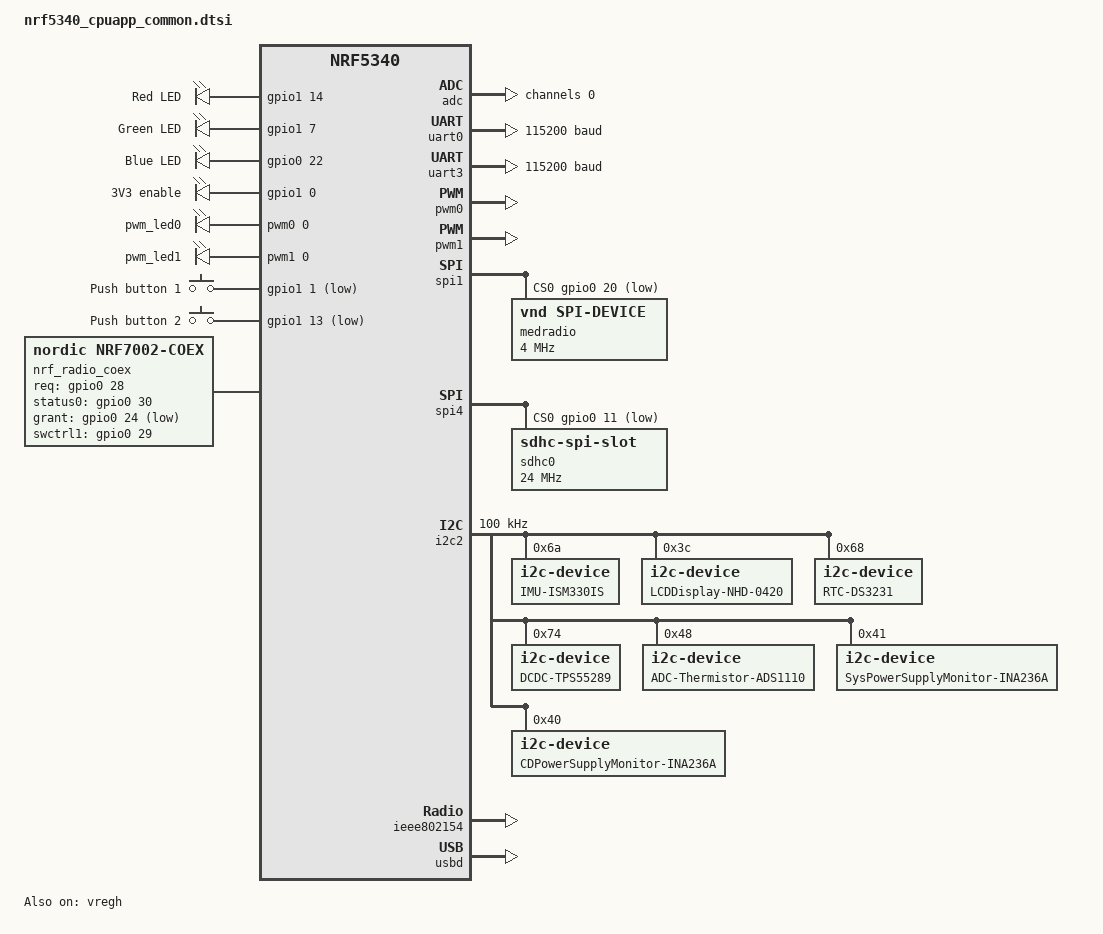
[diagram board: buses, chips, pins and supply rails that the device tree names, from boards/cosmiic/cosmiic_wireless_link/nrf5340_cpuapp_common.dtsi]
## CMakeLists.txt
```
#
# Copyright (c) 2018 Nordic Semiconductor
#
# SPDX-License-Identifier: LicenseRef-Nordic-5-Clause
#
cmake_minimum_required(VERSION 3.20.0)

list(APPEND BOARD_ROOT ${CMAKE_CURRENT_SOURCE_DIR}/boards)
set(PM_STATIC_YML_FILE ${CMAKE_CURRENT_SOURCE_DIR}/pm_static.yml)
#list(APPEND ZEPHYR_EXTRA_MODULE  ${CMAKE_CURRENT_SOURCE_DIR}/drivers)

find_package(Zephyr REQUIRED HINTS $ENV{ZEPHYR_BASE})
project(NONE)


# NORDIC SDK APP START
target_sources(app PRIVATE
  src/main.c
  src/spi.c
  src/cc1101radio.c
  src/cmdhandler.c
  src/audio.c
  src/charger.c
  src/wlgpio.c
  src/imu.c
)

#add_subdirectory(${CMAKE_CURRENT_SOURCE_DIR}/drivers)

# NORDIC SDK APP END

zephyr_library_include_directories(.)
```

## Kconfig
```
#
# Copyright (c) 2018 Nordic Semiconductor
#
# SPDX-License-Identifier: LicenseRef-Nordic-5-Clause
#

source "Kconfig.zephyr"

menu "Nordic UART BLE GATT service sample"

config BT_NUS_THREAD_STACK_SIZE
	int "Thread stack size"
	default 1024
	help
	  Stack size used in each of the two threads

config BT_NUS_UART_BUFFER_SIZE
	int "UART payload buffer element size"
	default 40
	help
	  Size of the payload buffer in each RX and TX FIFO element

config BT_NUS_SECURITY_ENABLED
	bool "Enable security"
	default y
	select BT_SMP
	help
	  "Enable BLE security for the UART service"

config BT_NUS_UART_RX_WAIT_TIME
	int "Timeout for UART RX complete event"
	default 50
	help
	  Wait for RX complete event time in milliseconds

config BT_NUS_UART_ASYNC_ADAPTER
	bool "Enable UART async adapter"
	select SERIAL_SUPPORT_ASYNC
	help
	  Enables asynchronous adapter for UART drives that supports only
	  IRQ interface.

endmenu

rsource "drivers/Kconfig"
```

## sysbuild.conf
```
# Enable MCUboot 
SB_CONFIG_BOOTLOADER_MCUBOOT=y

# Configure bootloader to use only one slot since we are currently only supporting DFU from the bootloader (Serial Recovery).
# To support DFU from application, set to n
SB_CONFIG_MCUBOOT_MODE_SINGLE_APP=y
```

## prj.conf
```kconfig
#
# Copyright (c) 2018 Nordic Semiconductor
#
# SPDX-License-Identifier: LicenseRef-Nordic-5-Clause
#



# Enable the UART driver
CONFIG_UART_ASYNC_API=y

CONFIG_SERIAL=y
CONFIG_UART_INTERRUPT_DRIVEN=y

CONFIG_GPIO=y
CONFIG_SPI=y

# Make sure printk is printing to the UART console
CONFIG_CONSOLE=y
CONFIG_UART_CONSOLE=y

#2048
CONFIG_HEAP_MEM_POOL_SIZE=4096 

CONFIG_MAIN_STACK_SIZE=16384

CONFIG_BT=y
CONFIG_BT_PERIPHERAL=y
CONFIG_BT_DEVICE_NAME="COSMIIC Wireless Link"
#If we want to change the device name at runtime uncomment next line.  
#CONFIG_BT_DEVICE_NAME_DYNAMIC=y 
CONFIG_BT_DEVICE_APPEARANCE=833
CONFIG_BT_MAX_CONN=1
CONFIG_BT_MAX_PAIRED=5

# Enable the NUS service
CONFIG_BT_NUS=y
CONFIG_BT_NUS_SECURITY_ENABLED=y
CONFIG_BT_NUS_AUTHEN=y

# Enable bonding (change all back to y)
CONFIG_BT_SETTINGS=y
CONFIG_FLASH=y
CONFIG_FLASH_PAGE_LAYOUT=y
CONFIG_FLASH_MAP=y
CONFIG_NVS=y
CONFIG_SETTINGS=y
CONFIG_SETTINGS_NVS=y


CONFIG_BT_SMP=y

# Configs for directed advertising
CONFIG_BT_FILTER_ACCEPT_LIST=y
CONFIG_BT_PRIVACY=y

# from BLE FUndamentals Lesson3, Ex2 Defauls: 24 (30ms), 40 (50ms), 0, 42 (420ms)
CONFIG_BT_PERIPHERAL_PREF_MIN_INT=6
CONFIG_BT_PERIPHERAL_PREF_MAX_INT=20
CONFIG_BT_PERIPHERAL_PREF_LATENCY=0
CONFIG_BT_PERIPHERAL_PREF_TIMEOUT=50
CONFIG_BT_GAP_AUTO_UPDATE_CONN_PARAMS=y

#max is 251, 83 is max recommended for fast pair
CONFIG_BT_GATT_CLIENT=y
CONFIG_BT_USER_DATA_LEN_UPDATE=y
CONFIG_BT_BUF_ACL_RX_SIZE=251
CONFIG_BT_BUF_ACL_TX_SIZE=251
CONFIG_BT_L2CAP_TX_MTU=251

# Enable DK LED and Buttons library
CONFIG_DK_LIBRARY=y

# This example requires more workqueue stack
CONFIG_SYSTEM_WORKQUEUE_STACK_SIZE=8192 
#2048

# Config logger
CONFIG_LOG=y

#JML added
#CONFIG_LOG_MODE_IMMEDIATE=n

CONFIG_LOG_BUFFER_SIZE=8192
CONFIG_USE_SEGGER_RTT=y
CONFIG_LOG_BACKEND_RTT=y
CONFIG_LOG_BACKEND_UART=n
CONFIG_LOG_PRINTK=n

CONFIG_LOG_MODE_OVERFLOW=y
CONFIG_LOG_MODE_DEFERRED=y
CONFIG_LOG_PROCESS_THREAD_STACK_SIZE=8192
CONFIG_LOG_PROCESS_THREAD_SLEEP_MS=100

CONFIG_ASSERT=y
#CONFIG_LOG_DEFAULT_LEVEL=4

#CONFIG_SENSOR=y
#CONFIG_ISM330IS=y  


#Fanstel board doesn't include NOR FLASH 
CONFIG_SPI_NOR=n
#Disabled low power
CONFIG_NRF_WIFI_LOW_POWER=n

CONFIG_PWM=y

CONFIG_LOG_SPEED=y

#JML: i don't think this is used because we handle the timeouts manually in app
CONFIG_BT_LIM_ADV_TIMEOUT=60
CONFIG_BT_RX_STACK_SIZE=4096

CONFIG_POWEROFF=y
CONFIG_ADC=y
CONFIG_I2C=y

#CONFIG_NFCT_PINS_AS_GPIOS=y

##CONFIG_BOOTLOADER_MCUBOOT=y  ##now done with sysbuild

#SD CARD
CONFIG_DISK_ACCESS=y
CONFIG_FILE_SYSTEM=y
CONFIG_FAT_FILESYSTEM_ELM=y
CONFIG_DISK_DRIVER_SDMMC=y
CONFIG_FS_FATFS_LFN=y
CONFIG_FS_FATFS_MOUNT_MKFS=y
CONFIG_FS_FATFS_LFN_MODE_HEAP=y

CONFIG_WATCHDOG=y
CONFIG_WDT_DISABLE_AT_BOOT=y



#JML Added for Coil UART
CONFIG_UART_NRFX=y
CONFIG_NRFX_UARTE3=y
CONFIG_UART_3_INTERRUPT_DRIVEN=n
CONFIG_UART_3_ASYNC=y

#JML added for debugging
CONFIG_DEBUG_OPTIMIZATIONS=y
CONFIG_DEBUG_THREAD_INFO=y
```

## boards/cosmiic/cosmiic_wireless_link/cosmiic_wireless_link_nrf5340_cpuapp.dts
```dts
/*
 * Copyright (c) 2024 Nordic Semiconductor ASA
 *
 * SPDX-License-Identifier: Apache-2.0
 */

/dts-v1/;
#include <nordic/nrf5340_cpuapp_qkaa.dtsi>
#include "nrf5340_cpuapp_common.dtsi"
#include "cosmiic_wireless_link_nrf5340_cpuapp_pinctrl.dtsi"

/ {
	model = "COSMIIC WIRELESS LINK NRF5340 Application";
	compatible = "nordic,cosmiicwirelesslink-NRF5340-cpuapp";

	chosen {
		zephyr,sram = &sram0_image;
		zephyr,flash = &flash0;
		zephyr,code-partition = &slot0_partition;
		zephyr,sram-secure-partition = &sram0_s;
		zephyr,sram-non-secure-partition = &sram0_ns;
		zephyr,wifi = &wlan0;
	};

	zephyr,user {
		io-channels = <&adc 0>;
	};
};

&qspi {
	nrf70: nrf7002@1 {
		compatible = "nordic,nrf7002-qspi";
		status = "okay";
		reg = <1>;
		qspi-frequency = <24000000>;
		qspi-quad-mode;

		#include "nrf70_common.dtsi"
		#include "nrf70_common_5g.dtsi"
	};
};
```

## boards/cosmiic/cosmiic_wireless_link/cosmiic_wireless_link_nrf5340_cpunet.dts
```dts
/*
 * Copyright (c) 2024 Nordic Semiconductor ASA
 *
 * SPDX-License-Identifier: Apache-2.0
 */

/dts-v1/;
#include <nordic/nrf5340_cpunet_qkaa.dtsi>
#include "cosmiic_wireless_link_nrf5340_cpunet_pinctrl.dtsi"
#include <zephyr/dt-bindings/input/input-event-codes.h>

/ {
	model = "COSMIIC WIRELESS LINK NRF5340 Network";
	compatible = "nordic,cosmiicwirelesslink-NRF5340-cpunet";

	chosen {
		zephyr,console = &uart0;
		zephyr,shell-uart = &uart0;
		zephyr,uart-mcumgr = &uart0;
		zephyr,bt-mon-uart = &uart0;
		zephyr,bt-c2h-uart = &uart0;
		zephyr,bt-hci-ipc = &ipc0;
		nordic,802154-spinel-ipc = &ipc0;
		zephyr,sram = &sram1;
		zephyr,flash = &flash1;
		zephyr,code-partition = &slot0_partition;
		zephyr,ieee802154 = &ieee802154;
	};

	leds {
		compatible = "gpio-leds";

		led0: led_0 {
				gpios = <&gpio1 6 GPIO_ACTIVE_HIGH>;
				label = "Green LED 0";
		};

		led1: led_1 {
				gpios = <&gpio1 7 GPIO_ACTIVE_HIGH>;
				label = "Green LED 1";
		};
	};

	buttons {
		compatible = "gpio-keys";

		button0: button_0 {
			gpios = <&gpio1 8 (GPIO_PULL_UP | GPIO_ACTIVE_LOW)>;
			label = "Push button 1";
			zephyr,code = <INPUT_KEY_0>;
		};

		button1: button_1 {
			gpios = <&gpio1 9 (GPIO_PULL_UP | GPIO_ACTIVE_LOW)>;
			label = "Push button 2";
			zephyr,code = <INPUT_KEY_1>;
		};
	};

	arduino_header: connector {
		compatible = "arduino-header-r3";
		#gpio-cells = <2>;
		gpio-map-mask = <0xffffffff 0xffffffc0>;
		gpio-map-pass-thru = <0 0x3f>;
		gpio-map = <0 0 &gpio0 4 0>,	/* A0 */
			   <1 0 &gpio0 5 0>,	/* A1 */
			   <2 0 &gpio0 6 0>,	/* A2 */
			   <3 0 &gpio0 7 0>,	/* A3 */
			   <4 0 &gpio0 25 0>,	/* A4 */
			   <5 0 &gpio0 26 0>,	/* A5 */
			   <6 0 &gpio1 0 0>,	/* D0 */
			   <7 0 &gpio1 1 0>,	/* D1 */
			   <8 0 &gpio1 4 0>,	/* D2 */
			   <9 0 &gpio1 5 0>,	/* D3 */
			   <10 0 &gpio1 6 0>,	/* D4 */
			   <11 0 &gpio1 7 0>,	/* D5 */
			   <12 0 &gpio1 8 0>,	/* D6 */
			   <13 0 &gpio1 9 0>,	/* D7 */
			   <14 0 &gpio1 10 0>,	/* D8 */
			   <15 0 &gpio1 11 0>,	/* D9 */
			   <16 0 &gpio1 12 0>,	/* D10 */
			   <17 0 &gpio1 13 0>,	/* D11 */
			   <18 0 &gpio1 14 0>,	/* D12 */
			   <19 0 &gpio1 15 0>,	/* D13 */
			   <20 0 &gpio1 2 0>,	/* D14 */
			   <21 0 &gpio1 3 0>;	/* D15 */
	};

	nrf_radio_coex: coex {
		status = "okay";
		compatible = "nordic,nrf7002-coex";
		req-gpios = <&gpio0 28 GPIO_ACTIVE_HIGH>;
		status0-gpios = <&gpio0 30 GPIO_ACTIVE_HIGH>;
		grant-gpios = <&gpio0 24 (GPIO_PULL_DOWN | GPIO_ACTIVE_LOW)>;
		swctrl1-gpios = <&gpio0 29 GPIO_ACTIVE_HIGH>;
	};

	/* These aliases are provided for compatibility with samples */
	aliases {
		led0 = &led0;
		led1 = &led1;
		sw0 = &button0;
		sw1 = &button1;
		bootloader-led0 = &led0;
		mcuboot-button0 = &button0;
		mcuboot-led0 = &led0;
		watchdog0 = &wdt0;
	};
};

&gpiote {
	status = "okay";
};

&gpio0 {
	status = "okay";
};

&gpio1 {
	status = "okay";
};

&uart0 {
	status = "okay";
	current-speed = <115200>;
	pinctrl-0 = <&uart0_default>;
	pinctrl-1 = <&uart0_sleep>;
	pinctrl-names = "default", "sleep";
};

arduino_serial: &uart0{};

arduino_i2c: &i2c0 {
	compatible = "nordic,nrf-twim";
	/* Cannot be used together with uart0. */
	/* status = "okay"; */
	pinctrl-0 = <&i2c0_default>;
	pinctrl-1 = <&i2c0_sleep>;
	pinctrl-names = "default", "sleep";
};

arduino_spi: &spi0 {
	compatible = "nordic,nrf-spim";
	/* Cannot be used together with uart0. */
	/* status = "okay"; */
	cs-gpios = <&arduino_header 16 GPIO_ACTIVE_LOW>; /* D10 */
	pinctrl-0 = <&spi0_default>;
	pinctrl-1 = <&spi0_sleep>;
	pinctrl-names = "default", "sleep";
};

&flash1 {
	partitions {
		compatible = "fixed-partitions";
		#address-cells = <1>;
		#size-cells = <1>;

		boot_partition: partition@0 {
			label = "mcuboot";
			reg = <0x00000000 0xc000>;
		};

		slot0_partition: partition@c000 {
			label = "image-0";
			reg = <0x0000C000 0x17000>;
		};

		slot1_partition: partition@23000 {
			label = "image-1";
			reg = <0x00023000 0x17000>;
		};

		storage_partition: partition@3a000 {
			label = "storage";
			reg = <0x0003a000 0x6000>;
		};
	};
};

&ieee802154 {
	status = "okay";
};

/* Include default shared RAM configuration file */
#include <nordic/nrf5340_shared_sram_partition.dtsi>
```

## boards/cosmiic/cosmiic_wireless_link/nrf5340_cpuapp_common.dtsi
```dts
/*
 * Copyright (c) 2024 Nordic Semiconductor ASA
 *
 * SPDX-License-Identifier: Apache-2.0
 */
#include "nrf5340_cpuapp_common_pinctrl.dtsi"
#include <zephyr/dt-bindings/input/input-event-codes.h>

/ {
	chosen {
		zephyr,console = &cdc_acm_uart0;
		nordic,nus-uart = &cdc_acm_uart0;
		zephyr,shell-uart = &cdc_acm_uart0;
		zephyr,uart-mcumgr = &uart0;
		zephyr,bt-mon-uart = &uart0;
		zephyr,bt-c2h-uart = &uart0;
		zephyr,bt-hci = &bt_hci_ipc0;
		nordic,802154-spinel-ipc = &ipc0;
		zephyr,ieee802154 = &ieee802154;
	};

	
	//gpios = <&gpio1 4 GPIO_ACTIVE_HIGH>;

	leds {
		compatible = "gpio-leds";

		led0: led_0{
            gpios = <&gpio1 14 (GPIO_ACTIVE_HIGH)>;
            label = "Red LED";
        };

        led1: led_1{
            gpios = <&gpio1 7 (GPIO_ACTIVE_HIGH)>;
            label = "Green LED";
        };

        led2: led_2{
            gpios = <&gpio0 22 (GPIO_ACTIVE_HIGH)>;
            label = "Blue LED";
        };

		en3v3: en3v3{
			gpios = <&gpio1 0 (GPIO_ACTIVE_HIGH)>;
			label = "3V3 enable";
		};
	};

	pwmleds {
		compatible = "pwm-leds";

		pwm_led0: pwm_led_0 {
			pwms = <&pwm0 0 PWM_MSEC(20) PWM_POLARITY_NORMAL>;
			status = "okay";
		};
		
		pwm_led1: pwm_led_1 {
            pwms = <&pwm1 0 PWM_MSEC(20) PWM_POLARITY_NORMAL>;
            status = "okay";
        };
	};

	buttons {
		compatible = "gpio-keys";

		button0: button_0 {
			gpios = <&gpio1 1 (GPIO_PULL_UP | GPIO_ACTIVE_LOW)>;
			label = "Push button 1";
			zephyr,code = <INPUT_KEY_0>;
		};

		button1: button_1 {
			gpios = <&gpio1 13 (GPIO_PULL_UP | GPIO_ACTIVE_LOW)>;
			label = "Push button 2";
			zephyr,code = <INPUT_KEY_1>;
		};
	};

	

	// gpio_fwd: nrf-gpio-forwarder {
	// 	compatible = "nordic,nrf-gpio-forwarder";
	// 	status = "disabled";

	// };

	/* These aliases are provided for compatibility with samples */
	aliases {
		led0 = &led0;
		led1 = &led1;
		led2 = &led2;
		en3v3 = &en3v3;
		pwm-led0 = &pwm_led0;
		pwm-led1 = &pwm_led1;
		sw0 = &button0;
		sw1 = &button1;
		bootloader-led0 = &led0;
		mcuboot-button0 = &button0;
		mcuboot-led0 = &led0;
		watchdog0 = &wdt0;
	};

	nrf_radio_coex: coex {
		status = "okay";
		compatible = "nordic,nrf7002-coex";
		req-gpios = <&gpio0 28 GPIO_ACTIVE_HIGH>;
		status0-gpios = <&gpio0 30 GPIO_ACTIVE_HIGH>;
		grant-gpios = <&gpio0 24 (GPIO_PULL_DOWN | GPIO_ACTIVE_LOW)>;
		swctrl1-gpios = <&gpio0 29 GPIO_ACTIVE_HIGH>;
	};
};

&vregmain {
	regulator-initial-mode = <NRF5X_REG_MODE_DCDC>;
};

&vregradio {
	regulator-initial-mode = <NRF5X_REG_MODE_DCDC>;
};

&vregh {
	status = "okay";
};

&lfxo {
	load-capacitors = "internal";
	load-capacitance-picofarad = <7>;
};


&adc {
	#address-cells = <1>;
	#size-cells = <0>;
	status = "okay";
	channel@0 {
		reg = <0>;
		zephyr,gain = "ADC_GAIN_1_3";
		zephyr,reference = "ADC_REF_INTERNAL";
		zephyr,acquisition-time = <ADC_ACQ_TIME_DEFAULT>;
		zephyr,input-positive = <NRF_SAADC_AIN6>; /*  P0.27 for nRF5340 */
		zephyr,resolution = <12>;
	};
};

&nfct {
	status = "disabled";
};

&gpiote {
	status = "okay";
};

&gpio0 {
	status = "okay";
};

&gpio1 {
	status = "okay";
};

&i2c1 {
	status = "disabled";
};

&uart0 {
	status = "okay";
	current-speed = <115200>;
	pinctrl-0 = <&uart0_default>;
	pinctrl-1 = <&uart0_sleep>;
	pinctrl-names = "default", "sleep";
};

&uart3{
    compatible = "nordic,nrf-uarte";
	status = "okay";
    current-speed = <115200>;
    pinctrl-0 = <&uart3_default>;
	pinctrl-1 = <&uart3_sleep>;
    pinctrl-names = "default", "sleep";
};

&pwm0 {
	status = "okay";
	pinctrl-0 = <&pwm0_default>;
	pinctrl-1 = <&pwm0_sleep>;
	pinctrl-names = "default", "sleep";
};

&pwm1 {
    status = "okay";
    pinctrl-0 = <&pwm1_default>;
    pinctrl-1 = <&pwm1_sleep>;
    pinctrl-names = "default", "sleep";
};

&spi1 {
	status = "okay";
	compatible = "nordic,nrf-spim";
	cs-gpios = <&gpio0 20 GPIO_ACTIVE_LOW>;
	pinctrl-0 = <&spi1_default>;
	pinctrl-1 = <&spi1_sleep>;
	pinctrl-names = "default", "sleep";
	medradio: medradio@0 {
		compatible = "vnd,spi-device";
		reg = <0>;
		spi-max-frequency = <4000000>;
		label = "medradio";
	};
	
};


&spi4 {
    status = "okay";
    compatible = "nordic,nrf-spim";
    cs-gpios = <&gpio0 11 GPIO_ACTIVE_LOW>;
    pinctrl-0 = <&spi4_default>;
	pinctrl-1 = <&spi4_sleep>;
	pinctrl-names = "default", "sleep";

    sdhc0: sdhc@0 {
            compatible = "zephyr,sdhc-spi-slot";
            reg = <0>;
            status = "okay";
            sdmmc {  /*changed mmc to sdmmc */
                compatible = "zephyr,sdmmc-disk";
                status = "okay";
				disk-name = "SD";
            };
            spi-max-frequency = <24000000>;
    };
   
};

&i2c2{
	status = "okay";
	//compatible = "nordic,nrf-twim";
	pinctrl-0 = <&i2c2_default>;
	pinctrl-1 = <&i2c2_sleep>;
	pinctrl-names = "default", "sleep";
    clock-frequency = <100000>;  //NHD-Display only supports 50KHz
    ism330is:ism330is@6A{
        status = "okay";
         compatible = "i2c-device"; //generic, no driver used
        reg=<0x6A>;
        //irq-gpios=<&gpio1 12 GPIO_ACTIVE_HIGH>,<&gpio1 13 GPIO_ACTIVE_HIGH>;
		label = "IMU-ISM330IS";
    };
    //The following are only used for the WL within the charger:
    lcddisplay:lcddisplay@3c{
        status="okay";
        compatible = "i2c-device"; //generic, no driver used
        reg = <0x3c>;
        label = "LCDDisplay-NHD-0420";
    };
    ertc:ertc@68{
        status="okay";
        compatible = "i2c-device"; //generic, no driver used
        reg = <0x68>;
        label = "RTC-DS3231";
    };
    dcdc:dcdc@74{
        status="okay";
        compatible = "i2c-device"; //generic, no driver used
        reg = <0x74>;
        label = "DCDC-TPS55289";
    };
    adctherm:adctherm@48{
        status="okay";
        compatible = "i2c-device"; //generic, no driver used
        reg = <0x48>;
        label = "ADC-Thermistor-ADS1110";
    };
    syspower:syspower@41{
        status="okay";
        compatible = "i2c-device"; //generic, no driver used
        reg = <0x41>;
        label = "SysPowerSupplyMonitor-INA236A";
    };
    cdpower:cdpower@40{
        status="okay";
        compatible = "i2c-device"; //generic, no driver used
        reg = <0x40>;
        label = "CDPowerSupplyMonitor-INA236A";
    };

};

&qspi {
	status = "disabled";
	pinctrl-0 = <&qspi_default>;
	pinctrl-1 = <&qspi_sleep>;
	pinctrl-names = "default", "sleep";
};


&spi0{
    status = "disabled";
};

&spi2{
    status = "disabled";
};

&spi3 {
	status = "disabled";
};

&ieee802154 {
	status = "okay";
};

zephyr_udc0: &usbd {
	cdc_acm_uart0: cdc_acm_uart0 {
 		compatible = "zephyr,cdc-acm-uart";
 	};
	status = "okay";
};

/* use NFC pins as regular GPIO */
&uicr {
	nfct-pins-as-gpios;
};





/* Include default memory partition configuration file */
#include <nordic/nrf5340_cpuapp_partition.dtsi>
```

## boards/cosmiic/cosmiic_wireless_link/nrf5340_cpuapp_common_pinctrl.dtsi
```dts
&pinctrl {
	
	i2c2_default: i2c2_default {
        group1 {
            psels = <NRF_PSEL(TWIM_SDA, 1, 2)>,
                <NRF_PSEL(TWIM_SCL, 1, 3)>;
            bias-pull-up;
        };

    };

	i2c2_sleep: i2c2_sleep {
        group1 {
            psels = <NRF_PSEL(TWIM_SDA, 1, 2)>,
                <NRF_PSEL(TWIM_SCL, 1, 3)>;
			low-power-enable;
        };
    };

	uart0_default: uart0_default {
		group1 {
			psels = <NRF_PSEL(UART_TX, 0, 26)>;
		};

		group2 {
			psels = <NRF_PSEL(UART_RX, 0, 21)>;
			bias-pull-up;
		};
	};

	uart0_sleep: uart0_sleep {
		group1 {
			psels = <NRF_PSEL(UART_TX, 0, 26)>,
				<NRF_PSEL(UART_RX, 0, 21)>;
			low-power-enable;
		};
	};
	
	
	uart3_default: uart3_default {
		group1 {
			psels = <NRF_PSEL(UART_TX, 0, 4)>;
		};
		group2 {
			psels = <NRF_PSEL(UART_RX, 0, 5)>;
			bias-pull-up;
		};
	};

	uart3_sleep: uart3_sleep {
		group1 {
			psels = <NRF_PSEL(UART_TX, 0, 4)>,
				<NRF_PSEL(UART_RX, 0, 5)>;
			low-power-enable;
		};
	};

	pwm0_default: pwm0_default {
		group1 {
			psels = <NRF_PSEL(PWM_OUT0, 0, 7)>;
		};
	};

	pwm0_sleep: pwm0_sleep {
		group1 {
			psels = <NRF_PSEL(PWM_OUT0, 0, 7)>;
			low-power-enable;
		};
	};
	
	pwm1_default: pwm1_default {
		group1 {
			psels = <NRF_PSEL(PWM_OUT0, 1, 5)>;
		};
	};

	pwm1_sleep: pwm1_sleep {
		group1 {
			psels = <NRF_PSEL(PWM_OUT0, 1, 5)>;
			low-power-enable;
		};
	};

	qspi_default: qspi_default {
		group1 {
			psels = <NRF_PSEL(QSPI_SCK, 0, 17)>,
				<NRF_PSEL(QSPI_IO0, 0, 13)>,
				<NRF_PSEL(QSPI_IO1, 0, 14)>,
				<NRF_PSEL(QSPI_IO2, 0, 15)>,
				<NRF_PSEL(QSPI_IO3, 0, 16)>;
			bias-pull-down;
		};

		group2 {
			psels = <NRF_PSEL(QSPI_CSN, 0, 18)>;
			bias-pull-up;
		};
	};

	qspi_sleep: qspi_sleep {
		group1 {
			psels = <NRF_PSEL(QSPI_SCK, 0, 17)>,
				<NRF_PSEL(QSPI_IO0, 0, 13)>,
				<NRF_PSEL(QSPI_IO1, 0, 14)>,
				<NRF_PSEL(QSPI_IO2, 0, 15)>,
				<NRF_PSEL(QSPI_IO3, 0, 16)>;
			bias-pull-down;
			low-power-enable;
		};

		group2 {
			psels = <NRF_PSEL(QSPI_CSN, 0, 18)>;
			bias-pull-up;
			low-power-enable;
		};
	};


	spi1_default: spi1_default {
        group1 {
            psels = <NRF_PSEL(SPIM_SCK, 1, 15)>,
                <NRF_PSEL(SPIM_MISO, 0, 25)>,
                <NRF_PSEL(SPIM_MOSI, 1, 8)>;
        };
    };

	spi1_sleep: spi1_sleep {
        group1 {
            psels = <NRF_PSEL(SPIM_SCK, 1, 15)>,
                <NRF_PSEL(SPIM_MISO, 0, 25)>,
                <NRF_PSEL(SPIM_MOSI, 1, 8)>;
			low-power-enable;
        };
    };
	

	spi4_default: spi4_default {
		group1 {
			psels = <NRF_PSEL(SPIM_SCK, 0, 8)>,
				<NRF_PSEL(SPIM_MISO, 0, 10)>,
				<NRF_PSEL(SPIM_MOSI, 0, 9)>;
				bias-pull-up; //pull up all SDCard SPI lines
		};
		
	};

	spi4_sleep: spi4_sleep {
		group1 {
			psels = <NRF_PSEL(SPIM_SCK, 0, 8)>,
				<NRF_PSEL(SPIM_MISO, 0, 10)>,
				<NRF_PSEL(SPIM_MOSI, 0, 9)>;
			low-power-enable;
		};
	};
};
```

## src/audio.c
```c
#include <zephyr/logging/log.h>
#include <zephyr/drivers/pwm.h>
#include <zephyr/kernel.h> //for k_msleep
#include <zephyr/device.h>
#include <zephyr/devicetree.h>
#include "audio.h"

#define LOG_MODULE_NAME audio
LOG_MODULE_REGISTER(LOG_MODULE_NAME);

#define AUDIO_STACKSIZE 1024 //bytes
#define AUDIO_PRIORITY 9

static const struct pwm_dt_spec pwm_buzz = PWM_DT_SPEC_GET(DT_ALIAS(pwm_led0));  //JML TODO: change alias to something more descriptive
K_MSGQ_DEFINE(audio_msgq, sizeof(struct audioList_type), 3, 4);

////////  AUDIO

//period in us, timeon in ms
uint16_t setBuzzerPeriod(uint16_t period, uint16_t timeon){

	uint32_t period_ns = ((uint32_t)period) *1000;
	int err = pwm_set_dt(&pwm_buzz, period_ns, period_ns >> 1);
	if (err) {
		LOG_WRN("Error %d: failed to set PWM pulse width/period\n", err);
		return 0;
	}
	//LOG_INF("Setting Buzzer Period");
	if (timeon > 0)
	{
		k_msleep(timeon);
		err = pwm_set_dt(&pwm_buzz, 0, 0);
		if (err) {
			LOG_WRN("Error %d: failed to disable PWM\n", err);
			return 0;
		}
	}
	return period;

}

void audio_thread(void)
{
	LOG_INF("Starting audio thread");

	if (!device_is_ready(pwm_buzz.dev)) {
	LOG_WRN("Error: PWM device %s is not ready. No audio supported\n",
			pwm_buzz.dev->name);
			return;
	}

	struct audioList_type audioList; 
	for (;;) {
		/* Wait indefinitely for request coming from BLE or UART or locally */
		k_msgq_get(&audio_msgq, &audioList, K_FOREVER);
        for (uint8_t i = 0; i< audioList.len; i++){
            setBuzzerPeriod(audioList.notePeriod[i], audioList.noteTime[i]); //TODO: handle an error response?
        }
        
	}

}

K_THREAD_DEFINE(audio_thread_id, AUDIO_STACKSIZE, audio_thread, NULL, NULL, NULL, AUDIO_PRIORITY, 0, 0);
```

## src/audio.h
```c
#ifndef _AUDIO_H
#define _AUDIO_H

#include <stdint.h>
#include <stdlib.h>
#include <stdbool.h>
#include <string.h>

#define MAX_AUDIO_NOTES 16 //must be divisible by 4 and should not exceed 60
//JML: does this need the __aligned(4) attribute
struct audioList_type {
   	uint16_t notePeriod[MAX_AUDIO_NOTES]; 
	uint16_t noteTime[MAX_AUDIO_NOTES];
    uint8_t len;
    uint8_t unused1;
    uint8_t unused2;
    uint8_t unused3;
};

extern struct k_msgq audio_msgq;

#endif
```

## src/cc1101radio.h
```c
// Doxygen
/*! 
** @defgroup radio Radio Interface
** @ingroup radiomanagement
*/
/*!
** @file   cc1101.h
** @author Hardway
** @date   12/14/2009
**
** @brief State machine for taking incoming packets from the radio and 
** either reading or writing to the local Object Dictionary or routing 
** to the CAN network. The corresponding replies are returned to the source.
**
** @ingroup radio
*/    
#ifndef _CC1101_RADIO_H
#define _CC1101_RADIO_H

#include <stdint.h>
#include <stdlib.h>
#include <stdbool.h>
#include <string.h>


extern struct k_msgq imp_resp_msgq;
extern struct k_msgq imp_req_msgq;
extern struct k_sem medradio_init_ok;
extern struct k_sem medradio_sent;


//JML: does this need the __aligned(4) attribute
struct medRadio_type {
   	uint8_t buf[64]; //must be divisible by 4
	uint8_t len;
	uint8_t source;
	uint8_t unused2;
	uint8_t unused3;
};






// -------- PROTOTYPES ----------
void initRadioConfig( void );
void sendRadioPacket(const uint8_t *data, uint8_t dataLen );
uint8_t getRadioPacket( uint8_t *data );
uint8_t clearChannelSearch(uint8_t dwell, int8_t* maxRSSI, int8_t* avgRSSI);
void loadRadioSettingsFromFlash(void);
void loadRadioSettingsForPMBoot(void);
uint16_t getTaskTimeoutForMedRadio(void);
void idleMedRadio(void);
void powerDownRadio(void);
uint16_t getMedRadioTimeout( void );
void copyRadioSettings(uint8_t* buf);
bool updateMedRadioLocalAddress(uint8_t val);
bool updateMedRadioRemoteAddress(uint8_t val);
bool updateMedRadioChannel(uint8_t val);
bool updateMedRadioTXPower(uint8_t val);
bool updateMedRadioRXTimeout(uint8_t val);
bool updateMedRadioWORInterval(uint8_t val);
bool updateMedRadioRetries(uint8_t val);
bool updateMedRadioEncryption(uint8_t val);
bool updateMedRadioSessionTime(uint8_t val);
bool updateMedRadioMaintain(uint8_t val);

uint16_t getTimeRemainingInSession(); //in ms

int saved_settings_write(uint16_t id, const void* buf, size_t len);
int saved_settings_read(uint16_t id, const void* buf, size_t len);

void radio_interrupt(void);

void enableEncryption(bool en);
int8_t getLastRSSI(void);

void btea(uint32_t *v, int n, uint32_t const key[4]);




#endif
 
```

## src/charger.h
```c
#ifndef _CHARGER_H
#define _CHARGER_H


#include <stdint.h>
#include <stdlib.h>
#include <stdbool.h>
#include <string.h>

void charger_thread(void);
void coil_reqresp_thread(void);

#define ROUTE_BLE   1
#define ROUTE_UART  2
#define ROUTE_USB   3
#define ROUTE_LOCAL 4


#define ROUTE_BIT_PMBOOT_WRITE   0x80
#define ROUTE_BIT_PMBOOT_READ    0x40
#define ROUTE_BIT_PMSCRIPT_WRITE 0x20
#define ROUTE_BIT_PMSCRIPT_READ  0x10
#define ROUTE_BIT_PMFILE_READ    0x08

#define CHARGER_MODE_NONE	0
#define CHARGER_MODE_CLOCK	1
#define CHARGER_MODE_CHARGE	2
#define CHARGER_MODE_TUNE	3
#define CHARGER_MODE_DETECT	4
#define CHARGER_MODE_POWERDOWN	5
#define CHARGER_MODE_CHARGE_NOFEEDBACK	6
#define CHARGER_MODE_DISPLAY_PASSKEY	7
#define CHARGER_MODE_DISPLAY_ERASEBONDS	8
#define CHARGER_MODE_MAX    8  
#define CHARGER_MODE_DEFAULT CHARGER_MODE_CLOCK

extern struct k_msgq coil_resp_msgq;
extern struct k_msgq coil_req_msgq;

extern struct k_msgq charger_resp_msgq;

struct smartCoil_type {
   	uint8_t buf[64]; //must be divisible by 4
	uint8_t len;
	uint8_t source;
	uint8_t unused2;
	uint8_t unused3;
};


void OutputDisplay(bool clear, char* str1, char* str2, char* str3, char* str4, uint8_t len1, uint8_t len2, uint8_t len3, uint8_t len4);
bool OutputDisplayLine(uint8_t line, char* str, uint8_t len);
void readRTC(uint8_t* rtc);
void writeRTC(uint8_t* rtc);

void startDCDC();
void stopDCDC();
void setDCDC(uint16_t voltage);
void keepCoilOn();
uint32_t setCoilPeriod(uint32_t period);
uint32_t getCoilPeriod(void);
uint16_t getThermistor(void);
uint8_t getCDPower(int16_t* current, uint16_t* voltage);
uint8_t getSysPower(int16_t* current, uint16_t* voltage);


bool logToFile(char * data, uint8_t len);
bool readFromFile(char * data, uint8_t len,  uint32_t off);
void initSD(void);
void dirSD(void);
uint32_t getLogLength(void);
bool flushLog(void);

uint8_t getChargeMode(void);
uint8_t setChargeMode(uint8_t mode);

void tuneCoil(void);
void metalDetect(void);
void charge(void);
void powerDownPM(void);

#define UPDATE_COIL   0
#define TURN_ON_COIL  1
#define TURN_OFF_COIL 2


void testNMT(void);
void testReadSDO(void);
void testWriteSDO(void);
uint8_t ReadSDO(uint8_t node, uint16_t index, uint8_t subindex, uint8_t numSubIndices, uint8_t* resp);
uint8_t WriteSDO(uint8_t node, uint16_t index, uint8_t subindex, uint8_t numSubIndices, uint8_t* writeData, uint8_t sizeBytes);
uint8_t NMT(uint8_t node, uint8_t cmd, uint8_t param1, uint8_t param2);
int8_t transmit(uint8_t node, uint8_t* data, uint8_t len, uint8_t counter, uint8_t protocol, uint8_t* resp);
uint8_t getChargerParams(uint8_t* settings);
void setChargerParams(uint8_t* settings);
uint8_t getAppRadioFromPMBoot(uint8_t* addrAP, uint8_t* addrPM, uint8_t* chan, uint8_t* power);

#endif
```

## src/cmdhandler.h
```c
#ifndef _CMD_HANDLER_H
#define _CMD_HANDLER_H

#include <stdint.h>
#include <stdlib.h>
#include <stdbool.h>
#include <string.h>

#define WL_IN_CHARGER true
#define HW_REV 1 //up to 65535
#define SW_REV 13 //up to 65535

#define PKT_HEADER_LEN 3
#define MIN_PKT_LEN PKT_HEADER_LEN // when checksum added, this will change
#define MAX_PKT_LEN  RX_BUF_SIZE
#define PKT_LEN_UNDEFINED 0 
#define MAX_MEDRADIO_PAYLOAD 60 //+ 64-length byte, address byte, 2 CRC/LQI bytes
#define MIN_MEDRADIO_PAYLOAD 0 //


//JML: does this need the __aligned(4) attribute
struct cmdHandler_type {
   	uint8_t buf[256]; //must be divisible by 4
	uint8_t len;
	uint8_t route;
	uint8_t unused2;
	uint8_t unused3;
};

extern struct k_msgq cmd_resp_msgq;

#define ROUTE_BLE   1
#define ROUTE_UART  2
#define ROUTE_USB   3
#define ROUTE_LOCAL 4
#define ROUTE_CHARGER 5

#define SOURCE_CMDHANDLER 1 //includes programmed button/accel actions + USB/BLE
#define SOURCE_CHARGER	  2
#define SOURCE_SENSOR	  3 //JML TODO:remove this eventually

struct action_type {
   	uint8_t buf[60]; 
	uint8_t len;
	uint8_t source;
};

// struct pmboot_header {
//    	uint32_t addr; 
// 	uint16_t pgsize;
// 	uint8_t sector;
// 	uint8_t unused;
// };

#define BUTTON_1_SHORT 0
#define BUTTON_2_SHORT 1
#define BUTTON_1_LONG  2
#define BUTTON_2_LONG  3
//#define ACCELEROMETER  4
#define MAX_ACTIONS    4
extern struct action_type action[MAX_ACTIONS];

#define RADIO_SETTINGS_ID 1
#define ACTION_SETTINGS_ID 2 
#define COIL_SETTINGS_ID   2 + MAX_ACTIONS


extern struct k_msgq cmd_req_msgq;

#define BIT0 0x01
#define BIT1 0x02
#define BIT2 0x04
#define BIT3 0x08
#define BIT4 0x10
#define BIT5 0x20
#define BIT6 0x40
#define BIT7 0x80

#define BLUE_LED_BLE_ADV         BIT0
#define GREEN_LED_RADIO_RESPONSE BIT1
#define RED_LED_RADIO_ERROR		 BIT2
#define LED_CHARGER				 BIT3
#define LED_MANUAL				 BIT6
#define LED_AUDIO_OFF  		 	 BIT7

#define LED_DEFAULT_MODE_WL		 BIT0|BIT1|BIT2
#define LED_DEFAULT_MODE_CHARGER BIT3  //|BIT7

extern uint8_t modeLED;

#define RESP_INVALID_PARAMETERS 0x0B
#define RESP_MEDRADIO_TIMEOUT   0x0D
#define RESP_COIL_TIMEOUT	    0x0E
#define RESP_SUCCESS            0x06

#define RESP_LOCAL_PMBOOT_WRITE 0x81
#define RESP_LOCAL_PMBOOT_READ  0x82
#define RESP_LOCAL_PMFILE_READ  0x83

#define INDEX_RESP_SYNC        0 
#define INDEX_RESP_TYPE        1 
#define INDEX_RESP_LEN         2    
#define INDEX_RESP_PAYLOAD     3
#define NON_PAYLOAD_RESP_BYTES 3

#define MAX_CMD_RESPONSE_LEN 255
#define MIN_CMD_RESPONSE_LEN NON_PAYLOAD_RESP_BYTES 
#define AWAITING_RESPONSE   1 

#define INDEX_CMD_SYNC        0 
#define INDEX_CMD_COMMAND     1
#define INDEX_CMD_LEN         2
#define INDEX_CMD_PAYLOAD     3
#define NON_PAYLOAD_CMD_BYTES 3

#define BLE_MODE_READY       3
#define BLE_MODE_OPEN_ADVERT 2
#define BLE_MODE_ADVERT      1
#define BLE_MODE_NONE        0

#define SYNC_BYTE  0xFF

#define MSG_DEPTH 1

void command_handler(uint8_t *packet, uint8_t len, uint8_t route);
void uart_send(uint8_t* packet, uint8_t len);
void ble_send(uint8_t* packet, uint8_t len);

void setLowPower(void);

uint16_t setBuzzerPeriod(uint16_t period, uint16_t timeon);
void ble_start_advertising(void);
void ble_stop_advertising(void);
void power_down_sensor(void);
int16_t get_adc_sample(void);

uint8_t pmboot_write_supervisor(uint8_t *pmboot, uint8_t * resp, uint8_t resp_len, uint8_t * req, uint8_t * req_len);
uint8_t pmboot_read_supervisor(uint8_t *pmboot, uint8_t * resp, uint8_t resp_len, uint8_t * req, uint8_t * req_len);
uint8_t pmfile_read_supervisor(uint8_t *pmboot, uint8_t * resp, uint8_t resp_len, uint8_t * req, uint8_t * req_len);

void resetWL(void);
void setLEDs( uint8_t red, uint8_t green, uint8_t blue);

//void enable_sensor(uint8_t enable);

uint8_t erasebonds(void);
void ble_start_advertising_pairing_mode(void);
uint32_t getpasskey(void);
uint8_t get_bonded_devices(uint8_t *buf);

uint8_t getBLEMode(void);
#endif
```

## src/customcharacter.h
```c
#ifndef _CUSTOMCHARACTER_H
#define _CUSTOMCHARACTER_H


#include <stdint.h>
#include <stdlib.h>
#include <stdbool.h>
#include <string.h>

#define CUSTOMCHAR_RADIO0   {   0b00000,\
                                0b00000,\
                                0b00000,\
                                0b00000,\
                                0b00000,\
                                0b00000,\
                                0b00000,\
                                0b00000  }

#define CUSTOMCHAR_RADIO1   {   0b00000,\
                                0b00000,\
                                0b00000,\
                                0b00000,\
                                0b10000,\
                                0b10000,\
                                0b10000,\
                                0b10000 }

#define CUSTOMCHAR_RADIO2   {   0b00000,\
                                0b00000,\
                                0b00100,\
                                0b00100,\
                                0b10100,\
                                0b10100,\
                                0b10100,\
                                0b10100  }

#define CUSTOMCHAR_RADIO3   {   0b00001,\
                                0b00001,\
                                0b00101,\
                                0b00101,\
                                0b10101,\
                                0b10101,\
                                0b10101,\
                                0b10101 }      
                        
#define CUSTOMCHAR_PERSON   {   0b11000,\
                                0b11000,\
                                0b10000,\
                                0b11100,\
                                0b10000,\
                                0b11110,\
                                0b00010,\
                                0b00011 }    

#define CUSTOMCHAR_COIL  {      0b00000,\
                                0b00000,\
                                0b01110,\
                                0b10001,\
                                0b10101,\
                                0b10001,\
                                0b01110,\
                                0b00000 }   

#define CUSTOMCHAR_LIGHTNING {   0b00010,\
                                0b00110,\
                                0b01100,\
                                0b11100,\
                                0b00111,\
                                0b00110,\
                                0b01100,\
                                0b01000 }    
                                
#define CUSTOMCHAR_DEGREEC  {   0b10000,\
                                0b00110,\
                                0b01001,\
                                0b01000,\
                                0b01000,\
                                0b01001,\
                                0b00110,\
                                0b00000 }    
                                
#define CUSTOMCHAR_BATTERY0 {   0b01110,\
                                0b11011,\
                                0b10001,\
                                0b10001,\
                                0b10001,\
                                0b10001,\
                                0b10001,\
                                0b11111 } 

#define CUSTOMCHAR_BATTERY1 {   0b01110,\
                                0b11011,\
                                0b10001,\
                                0b10001,\
                                0b10001,\
                                0b10001,\
                                0b11111,\
                                0b11111 } 

#define CUSTOMCHAR_BATTERY2 {   0b01110,\
                                0b11011,\
                                0b10001,\
                                0b10001,\
                                0b10001,\
                                0b11111,\
                                0b11111,\
                                0b11111 } 

#define CUSTOMCHAR_BATTERY3 {   0b01110,\
                                0b11011,\
                                0b10001,\
                                0b10001,\
                                0b11111,\
                                0b11111,\
                                0b11111,\
                                0b11111 } 
    
#define CUSTOMCHAR_BATTERY4 {   0b01110,\
                                0b11011,\
                                0b10001,\
                                0b11111,\
                                0b11111,\
                                0b11111,\
                                0b11111,\
                                0b11111 } 

#define CUSTOMCHAR_BATTERY5 {   0b01110,\
                                0b11011,\
                                0b11111,\
                                0b11111,\
                                0b11111,\
                                0b11111,\
                                0b11111,\
                                0b11111 }      

#define CUSTOMCHAR_BATTERY6 {   0b01110,\
                                0b11111,\
                                0b11111,\
                                0b11111,\
                                0b11111,\
                                0b11111,\
                                0b11111,\
                                0b11111 }                                   


#define CUSTOMCHAR_BIGSTAR  {   0b00000,\
                                0b00000,\
                                0b00100,\
                                0b00100,\
                                0b01110,\
                                0b11111,\
                                0b01110,\
                                0b00100 } 

 #define CUSTOMCHAR_LILSTAR  {  0b00000,\
                                0b01000,\
                                0b01000,\
                                0b11100,\
                                0b01000,\
                                0b01000,\
                                0b00000,\
                                0b00000 }   

#define CUSTOMCHAR_DOUBLEI {    0b01010,\
                                0b01010,\
                                0b01010,\
                                0b01010,\
                                0b01010,\
                                0b01010,\
                                0b01010,\
                                0b00000 }    

#define CUSTOMCHAR_TUNER    {   0b01010,\
                                0b01010,\
                                0b01010,\
                                0b01010,\
                                0b01110,\
                                0b00100,\
                                0b00100,\
                                0b00100 } 
    
#define CUSTOMCHAR_POWER     {  0b00000,\
                                0b00100,\
                                0b10101,\
                                0b10101,\
                                0b10001,\
                                0b10001,\
                                0b01110,\
                                0b00000 }   

#define CUSTOMCHAR_BT        {  0b00100,\
                                0b10110,\
                                0b01101,\
                                0b00110,\
                                0b01101,\
                                0b10110,\
                                0b00100,\
                                0b00000 }         

 #define CUSTOMCHAR_BTPAIR    { 0b00100,\
                                0b10110,\
                                0b01101,\
                                0b10110,\
                                0b01101,\
                                0b10110,\
                                0b00100,\
                                0b00000 }     
                                 
#endif
```

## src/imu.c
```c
#include "imu.h"
#include <zephyr/logging/log.h>
#include <dk_buttons_and_leds.h>
#include <zephyr/kernel.h> //for k_msleep
#include <zephyr/device.h>
#include <zephyr/devicetree.h>
#include <zephyr/drivers/uart.h>
#include <zephyr/drivers/i2c.h>

#define LOG_MODULE_NAME imu
LOG_MODULE_REGISTER(LOG_MODULE_NAME);

static const struct i2c_dt_spec dev_i2c_imu = I2C_DT_SPEC_GET(DT_NODELABEL(ism330is));


void initIMU(void)
{
    if (!device_is_ready(dev_i2c_imu.bus)) {
		LOG_INF("I2C bus %s is not ready!\n\r",dev_i2c_imu.bus->name);
		return;
	}

    uint8_t write_buf[2];
    uint8_t read_buf[1];

	
	LOG_INF("Get Thermistor");


    write_buf[0]=WHO_AM_I;
	int ret = i2c_write_read_dt(&dev_i2c_imu, write_buf, 1,read_buf, sizeof(read_buf));
    if(ret != 0){
		LOG_INF("Failed to write to I2C device address %x at reg \n\r", dev_i2c_imu.addr);
		return 0;
	}
    LOG_INF("WHO AM I response %02X", read_buf[0]);

    write_buf[0]=CTRL6_C;
    write_buf[1]=0x10; //low power mode Acc
    ret = i2c_write_dt(&dev_i2c_imu, write_buf, sizeof(write_buf));

    write_buf[0]=CTRL7_G;
    write_buf[1]=0x80; //low power mode Gyro
	ret = i2c_write_dt(&dev_i2c_imu, write_buf, sizeof(write_buf));
	
    write_buf[0]=CTRL1_XL;
    write_buf[1]=0x20; //26Hz, 2g, Acc
	ret = i2c_write_dt(&dev_i2c_imu, write_buf, sizeof(write_buf));

    write_buf[0]=CTRL2_G;
    write_buf[1]=0x20; //26Hz, +/-250dps, Gyro
	ret = i2c_write_dt(&dev_i2c_imu, write_buf, sizeof(write_buf));

    LOG_INF("IMU initialized for Accel and Gyro 26Hz, 2g, 250dps");
}

void getAccel(uint8_t *bytes)
{
    uint8_t write_buf[1];
    uint8_t read_buf[6];

    write_buf[0]=OUTX_L_A;

    int ret = i2c_write_read_dt(&dev_i2c_imu, write_buf, sizeof(write_buf),read_buf, sizeof(read_buf));
    if(ret != 0){
		LOG_INF("Failed to write to I2C device address %x at reg \n\r", dev_i2c_imu.addr);
		return 0;
	}
    memcpy(bytes, read_buf, sizeof(read_buf));
}

void getGyro(uint8_t *bytes)
{
    uint8_t write_buf[1];
    uint8_t read_buf[6];

    write_buf[0]=OUTX_L_G;

    int ret = i2c_write_read_dt(&dev_i2c_imu, write_buf, sizeof(write_buf),read_buf, sizeof(read_buf));
    if(ret != 0){
		LOG_INF("Failed to write to I2C device address %x at reg \n\r", dev_i2c_imu.addr);
		return 0;
	}
    memcpy(bytes, read_buf, sizeof(read_buf));
}
```

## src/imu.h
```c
#ifndef _IMU_H
#define _IMU_H


#include <stdint.h>
#include <stdlib.h>
#include <stdbool.h>
#include <string.h>


#define FUNC_CFG_ACCESS 0x01
#define PIN_CTRL		0x02
#define DRDY_PULSED_REG 0x0B
#define INT1_CTRL		0x0D
#define INT2_CTRL		0x0E
#define WHO_AM_I		0x0F
#define CTRL1_XL		0x10
#define CTRL2_G			0x11
#define CTRL3_C			0x12
#define CTRL4_C			0x13
#define CTRL5_C			0x14
#define CTRL6_C			0x15
#define CTRL7_G			0x16
#define CTRL9_C			0x18
#define CTRL10_C		0x19
#define STATUS_REG		0x1E
#define	MD1_CFG			0x5E

#define ISPU_CONFIG		0x02
#define ISPU_STATUS		0x04
#define ISPU_MEM_SEL    0x08
#define ISPU_MEM_ADDR1  0x09
#define ISPU_MEM_ADDR0  0x0A
#define ISPU_MEM_DATA   0x0B
#define ISPU_DOUT_00_L  0x10

#define ISPU_INT1_CTRL0 0x50
#define ISPU_INT2_CTRL0 0x54
#define ISPU_ALGO0 		0x70

#define OUT_TEMP_L        	0x20
#define OUTX_L_G        	0x22
#define OUTX_L_A		0x28
#define WHO_AM_I		0x0F

void initIMU(void);
void getAccel(uint8_t *bytes);
void getGyro(uint8_t *bytes);
#endif
```

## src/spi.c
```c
//#include "spi.h"
#include <zephyr/drivers/spi.h>
#include <zephyr/logging/log.h>

#define LOG_MODULE_NAME spi
LOG_MODULE_REGISTER(LOG_MODULE_NAME);



/** @brief Transmit buffer initialized with the specified message ( @ref MSG_TO_SEND ). */
static uint8_t m_tx_buffer[64] = {0};

/** @brief Receive buffer defined with the size to store specified message ( @ref MSG_TO_SEND ). */
static uint8_t m_rx_buffer[64] = {0};


static struct spi_buf spi_tx_buf ={.buf = m_tx_buffer, .len = sizeof(m_tx_buffer)} ;
static const struct spi_buf_set spi_tx_bufs = {.buffers = &spi_tx_buf, .count = 1};
static struct spi_buf spi_rx_buf ={.buf = m_rx_buffer, .len = sizeof(m_rx_buffer)} ;
static const struct spi_buf_set spi_rx_bufs = {.buffers = &spi_rx_buf, .count = 1};



#define SPI_OP  SPI_OP_MODE_MASTER  | SPI_WORD_SET(8) | SPI_LINES_SINGLE

static const struct spi_dt_spec spi = SPI_DT_SPEC_GET(DT_NODELABEL(medradio), SPI_OP, 0);
   


void spi_init(void)
{

   if (!spi_is_ready_dt(&spi)) {
        LOG_ERR("Device medradio SPI not ready, aborting test");
        return;
    }

}




 void spi_transmit(uint8_t* tx_buf, uint8_t* rx_buf, uint8_t len) 
 {	

 	memcpy(m_tx_buffer, tx_buf, len);  //copy to SPI buffer
	spi_tx_buf.len = len;
	spi_rx_buf.len = len;

	//LOG_HEXDUMP_INF(m_tx_buffer, len, "Message to send");
	
	int ret = spi_transceive_dt(&spi, &spi_tx_bufs, &spi_rx_bufs);
	if (ret) { 
		LOG_INF("spi_read status: %d", ret); 
	}

	//LOG_HEXDUMP_INF(m_rx_buffer, len, "Message received");
	memcpy(rx_buf, m_rx_buffer, len);  //copy from SPI buffer 
	

	
 }



// /**
// @brief transmit single byte and retrieve response
// See Erata: http://infocenter.nordicsemi.com/pdf/nRF52832_Errata_v1.1.pdf
// Item 58, this outputs 2 bytes instead of 1.  For our purposes it doesn't matter
// */
 uint8_t spi_transmit_byte(uint8_t tx_byte) 
 {

	uint8_t rx_byte;
	
	spi_transmit(&tx_byte, &rx_byte, 1);
	
	return rx_byte;
 }
```
